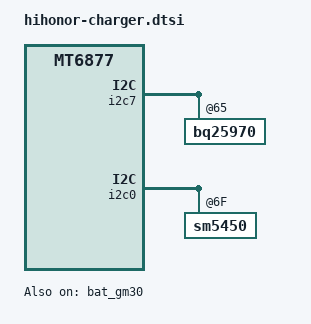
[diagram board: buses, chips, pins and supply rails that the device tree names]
#include "../hihonor_charger/mt6877_ntx_honor_charger.dtsi"

&i2c7 {
	bq25970@65 {
		status = "ok";
	};
	fairchild_fsa9685@25 {
		status = "disabled";
	};
	rt9426a_fg@55 {
		status = "disabled";
	};
};

&i2c0 {
	bq25970@65 {
		status = "disabled";
	};
	sm5450@6F{
		status = "ok";
		support_unbalanced_current_sc = <1>;
		use_typec_plugout_to_quick_exit = <1>;
	};
};

&direct_charger_sc {
	support_multi_ic = <1>;
};

&bat_gm30 {
	status = "ok";
};

&huawei_batt_info {
	shield_ct_sign = <1>;
};
